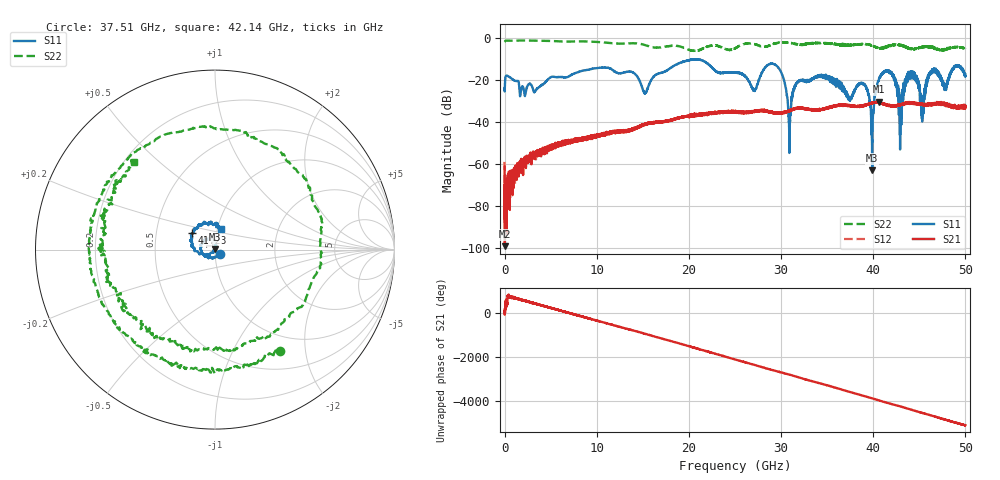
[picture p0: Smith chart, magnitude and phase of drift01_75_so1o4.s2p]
!Created with skrf (http://scikit-rf.org).
# Hz S RI R 50.0
!freq ReS11 ImS11 ReS21 ImS21 ReS12 ImS12 ReS22 ImS22
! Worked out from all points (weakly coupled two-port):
!   10001 points, 300 kHz to 50 GHz, reference 50 ohm
!   highest |S21| = -30.55 dB at 40.66 GHz (marker M1); lowest = -99.4 dB at 30.3 MHz (marker M2)
!   lowest |S11| = -63.3 dB at 39.89 GHz (marker M3), VSWR 1.00, Z = 50 + j0.0686 ohm
!   |S11| at or under -10 dB: start of sweep to end of sweep
!   |S22| runs from -6.4 to -1.3 dB; largest |S21 - S12| = 0.0039
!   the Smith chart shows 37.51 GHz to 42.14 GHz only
!   S11 on the Smith chart (normalised r, x): 37.51 GHz: 1.05, -0.05; 41.23 GHz: 0.76, +0.14; 42.14 GHz: 1.04, +0.24
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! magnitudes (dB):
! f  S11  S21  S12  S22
! 300 kHz  -24.1  -61.5  -59.2  -2.1
! 30.3 MHz  -22.5  -99.4  -77.5  -1.8
! 8.335 GHz  -15.9  -48.4  -47.7  -1.8
! 16.67 GHz  -17.1  -40.6  -40.6  -4.8
! 25 GHz  -16.6  -35.5  -35.5  -5.0
! 27.09 GHz  -25.2  -35.3  -35.1  -3.0
! 29.44 GHz  -13.2  -35.7  -35.9  -2.7
! 30.91 GHz  -54.0  -34.7  -34.7  -2.5
! 31.69 GHz  -21.7  -33.8  -33.7  -3.2
! 33.34 GHz  -19.8  -34.1  -34.5  -2.6
! 37.51 GHz  -28.9  -32.2  -32.4  -3.5
! 38.99 GHz  -22.2  -32.3  -32.2  -3.0
! 39.89 GHz  -63.3  -31.2  -31.0  -3.9
! 40.66 GHz  -19.2  -30.6  -30.8  -4.9
! 41.23 GHz  -16.1  -31.7  -31.9  -4.9
! 41.67 GHz  -15.6  -32.2  -32.3  -3.8
! 42.14 GHz  -18.5  -32.3  -32.6  -3.5
! 42.99 GHz  -29.7  -31.8  -31.9  -3.5
! 44.05 GHz  -17.9  -31.2  -31.3  -5.3
! 45.31 GHz  -40.0  -31.7  -32.1  -4.4
! 46.42 GHz  -15.8  -31.9  -31.8  -4.8
! 50 GHz  -17.5  -32.6  -32.7  -5.3
